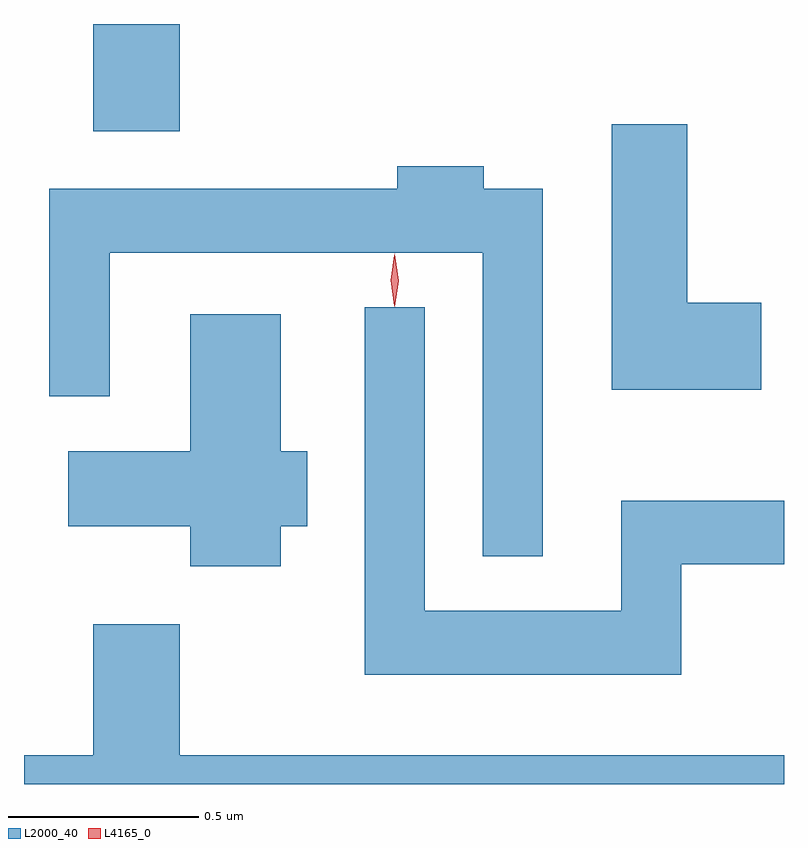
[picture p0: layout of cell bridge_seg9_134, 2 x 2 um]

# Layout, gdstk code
import gdstk
lib = gdstk.Library(unit=1e-6, precision=1e-09)
def R(c, l, rs):  # rectangles x0, y0, x1, y1
    for r in rs: c.add(gdstk.rectangle(r[:2], r[2:], *l))
def P(c, l, *ps):  # polygons
    for p in ps: c.add(gdstk.Polygon(p, *l))
L2000_40 = (2000, 40)
L4165_0 = (4165, 0)

bridge_seg9_134 = lib.new_cell('bridge_seg9_134')
R(bridge_seg9_134, L2000_40, [(1371.661,2080.306,1371.889,2080.588)])
P(bridge_seg9_134, L2000_40, [(1373.419,2079.854),(1373.224,2079.854),(1373.224,2080.324),(1373.026,2080.324),(1373.026,2079.626),(1373.419,2079.626)],
  [(1372.844,2080.154),(1372.689,2080.154),(1372.689,2080.214),(1372.461,2080.214),(1372.461,2080.154),(1371.546,2080.154),(1371.546,2079.608),(1371.704,2079.608),(1371.704,2079.986),(1372.686,2079.986),(1372.686,2079.188),(1372.844,2079.188)],
  [(1373.209,2079.166),(1373.479,2079.166),(1373.479,2079.334),(1373.051,2079.334),(1373.051,2079.044),(1372.534,2079.044),(1372.534,2079.843),(1372.376,2079.843),(1372.376,2078.876),(1373.209,2078.876)],
  [(1372.154,2079.266),(1372.224,2079.266),(1372.224,2079.464),(1372.154,2079.464),(1372.154,2079.824),(1371.916,2079.824),(1371.916,2079.464),(1371.596,2079.464),(1371.596,2079.266),(1371.916,2079.266),(1371.916,2079.161),(1372.154,2079.161)],
  [(1373.479,2078.664),(1371.889,2078.664),(1371.889,2079.009),(1371.661,2079.009),(1371.661,2078.664),(1371.479,2078.664),(1371.479,2078.588),(1373.479,2078.588)])
P(bridge_seg9_134, L4165_0, [(1372.454,2079.844),(1372.445,2079.913),(1372.454,2079.982),(1372.455,2079.983),(1372.455,2079.982),(1372.465,2079.913),(1372.455,2079.844),(1372.455,2079.844)],
  [(1372.453,2079.847),(1372.444,2079.914),(1372.453,2079.98),(1372.454,2079.98),(1372.454,2079.98),(1372.464,2079.914),(1372.454,2079.847),(1372.454,2079.847)])

lib.write_gds('bridge_seg9_134.gds')
